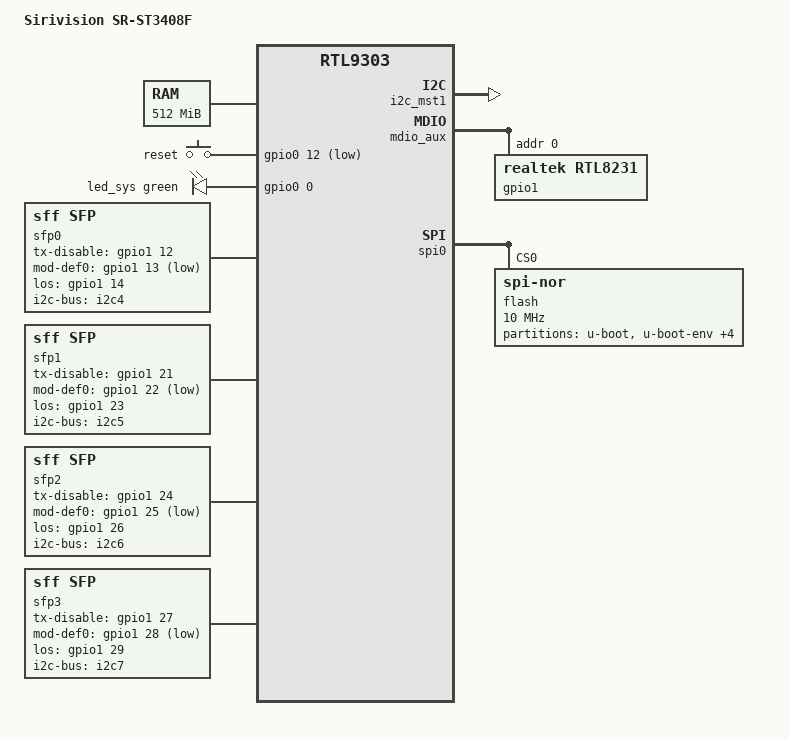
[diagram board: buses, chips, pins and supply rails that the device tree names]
// SPDX-License-Identifier: GPL-2.0-or-later
/dts-v1/;

#include "rtl930x.dtsi"

#include <dt-bindings/input/input.h>
#include <dt-bindings/gpio/gpio.h>
#include <dt-bindings/leds/common.h>
#include <dt-bindings/phy/phy.h>

/ {
	compatible = "sirivision,sr-st3408f", "realtek,rtl9303-soc";
	model = "Sirivision SR-ST3408F";

	memory@0 {
		device_type = "memory";
		reg = <0x00000000 0x10000000>, /* first 256 MiB */
		      <0x20000000 0x10000000>; /* remaining 256 MiB */
	};

	chosen {
		stdout-path = "serial0:115200n8";
	};

	aliases {
		led-boot = &led_sys;
		led-failsafe = &led_sys;
		led-running = &led_sys;
		led-upgrade = &led_sys;

		label-mac-device = &ethernet0;
	};

	keys {
		compatible = "gpio-keys";

		button-reset {
			label = "reset";
			gpios = <&gpio0 12 GPIO_ACTIVE_LOW>;
			linux,code = <KEY_RESTART>;
		};
	};

	leds {
		compatible = "gpio-leds";

		led_sys: led-0 {
			gpios = <&gpio0 0 GPIO_ACTIVE_HIGH>;
			color = <LED_COLOR_ID_GREEN>;
			function = LED_FUNCTION_STATUS;
		};
	};

	led_set {
		compatible = "realtek,rtl9300-leds";
		active-low;

		led_set0 = <
			(RTL93XX_LED_SET_10G | RTL93XX_LED_SET_LINK)
			(RTL93XX_LED_SET_10G | RTL93XX_LED_SET_5G | RTL93XX_LED_SET_2P5G |
			 RTL93XX_LED_SET_1G | RTL93XX_LED_SET_100M | RTL93XX_LED_SET_10M |
			 RTL93XX_LED_SET_LINK | RTL93XX_LED_SET_ACT)
		>;

		led_set1 = <
			(RTL93XX_LED_SET_NONE)	/* odd outputs are not connected */
			(RTL93XX_LED_SET_10G | RTL93XX_LED_SET_5G | RTL93XX_LED_SET_2P5G |
			 RTL93XX_LED_SET_1G | RTL93XX_LED_SET_100M | RTL93XX_LED_SET_10M |
			 RTL93XX_LED_SET_LINK | RTL93XX_LED_SET_ACT)
		>;
	};

	sfp0: sfp-p5 {
		compatible = "sff,sfp";
		i2c-bus = <&i2c4>;
		tx-disable-gpio = <&gpio1 12 GPIO_ACTIVE_HIGH>;
		mod-def0-gpio = <&gpio1 13 GPIO_ACTIVE_LOW>;
		los-gpio = <&gpio1 14 GPIO_ACTIVE_HIGH>;
		maximum-power-milliwatt = <2000>;
		#thermal-sensor-cells = <0>;
	};

	sfp1: sfp-p6 {
		compatible = "sff,sfp";
		i2c-bus = <&i2c5>;
		tx-disable-gpio = <&gpio1 21 GPIO_ACTIVE_HIGH>;
		mod-def0-gpio = <&gpio1 22 GPIO_ACTIVE_LOW>;
		los-gpio = <&gpio1 23 GPIO_ACTIVE_HIGH>;
		maximum-power-milliwatt = <2000>;
		#thermal-sensor-cells = <0>;
	};

	sfp2: sfp-p7 {
		compatible = "sff,sfp";
		i2c-bus = <&i2c6>;
		tx-disable-gpio = <&gpio1 24 GPIO_ACTIVE_HIGH>;
		mod-def0-gpio = <&gpio1 25 GPIO_ACTIVE_LOW>;
		los-gpio = <&gpio1 26 GPIO_ACTIVE_HIGH>;
		maximum-power-milliwatt = <2000>;
		#thermal-sensor-cells = <0>;
	};

	sfp3: sfp-p8 {
		compatible = "sff,sfp";
		i2c-bus = <&i2c7>;
		tx-disable-gpio = <&gpio1 27 GPIO_ACTIVE_HIGH>;
		mod-def0-gpio = <&gpio1 28 GPIO_ACTIVE_LOW>;
		los-gpio = <&gpio1 29 GPIO_ACTIVE_HIGH>;
		maximum-power-milliwatt = <2000>;
		#thermal-sensor-cells = <0>;
	};
};

&i2c_mst1 {
	status = "okay";

	i2c4: i2c@4 { reg = <4>; };
	i2c5: i2c@5 { reg = <5>; };
	i2c6: i2c@6 { reg = <6>; };
	i2c7: i2c@7 { reg = <7>; };
};

&mdio_aux {
	status = "okay";

	gpio1: gpio@0 {
		compatible = "realtek,rtl8231";
		reg = <0>;

		gpio-controller;
		#gpio-cells = <2>;
		gpio-ranges = <&gpio1 0 0 37>;

		led-controller {
			compatible = "realtek,rtl8231-leds";
			status = "disabled";
		};
	};
};

&spi0 {
	status = "okay";

	flash@0 {
		compatible = "jedec,spi-nor";
		reg = <0>;
		spi-max-frequency = <10000000>;

		partitions {
			compatible = "fixed-partitions";
			#address-cells = <1>;
			#size-cells = <1>;

			partition@0 {
				label = "u-boot";
				reg = <0x0 0xe0000>;
				read-only;
			};

			partition@e0000 {
				label = "u-boot-env";
				reg = <0xe0000 0x10000>;

				nvmem-layout {
					compatible = "u-boot,env";

					macaddr_ubootenv_ethaddr: ethaddr {
						#nvmem-cell-cells = <1>;
					};
				};
			};

			partition@f0000 {
				label = "u-boot-env2";
				reg = <0xf0000 0x10000>;
				read-only;
			};

			partition@100000 {
				label = "jffs";
				reg = <0x100000 0x100000>;
			};

			partition@200000 {
				label = "jffs2";
				reg = <0x200000 0x100000>;
			};

			partition@300000 {
				label = "firmware";
				reg = <0x300000 0xd00000>;
				compatible = "openwrt,uimage", "denx,uimage";
				openwrt,ih-magic = <0x93000000>;
			};
		};
	};
};

/* serdes for 10G PHYs have TX polarity inverted */
&serdes2 { tx-polarity = <PHY_POL_INVERT>; };
&serdes3 { tx-polarity = <PHY_POL_INVERT>; };
&serdes4 { tx-polarity = <PHY_POL_INVERT>; };
&serdes5 { tx-polarity = <PHY_POL_INVERT>; };

&mdio_bus0 {
	PHY_C45(0, 0)
	PHY_C45(8, 1)
	PHY_C45(16, 2)
	PHY_C45(20, 3)
};

&ethernet0 {
	nvmem-cells = <&macaddr_ubootenv_ethaddr 0>;
	nvmem-cell-names = "mac-address";
};

&switch0 {
	ethernet-ports {
		#address-cells = <1>;
		#size-cells = <0>;

		/* RJ45 ports, lan1-4 */
		SWITCH_PORT_LED(0,  1, 2, 0, 0, usxgmii)
		SWITCH_PORT_LED(8,  2, 3, 0, 0, usxgmii)
		SWITCH_PORT_LED(16, 3, 4, 0, 0, usxgmii)
		SWITCH_PORT_LED(20, 4, 5, 0, 0, usxgmii)

		/* SFP+ ports, lan5-8 */
		SWITCH_PORT_SFP(24, 5, 6, 1, 0)
		SWITCH_PORT_SFP(25, 6, 7, 1, 1)
		SWITCH_PORT_SFP(26, 7, 8, 1, 2)
		SWITCH_PORT_SFP(27, 8, 9, 1, 3)

		/* CPU port */
		port@28 {
			ethernet = <&ethernet0>;
			reg = <28>;
			phy-mode = "internal";

			fixed-link {
				speed = <1000>;
				full-duplex;
			};
		};
	};
};

&thermal_zones {
	sfp-thermal {
		polling-delay-passive = <10000>;
		polling-delay = <10000>;
		thermal-sensors = <&sfp0>, <&sfp1>, <&sfp2>, <&sfp3>;
		trips {
			sfp-crit {
				temperature = <110000>;
				hysteresis = <1000>;
				type = "critical";
			};
		};
	};
};
